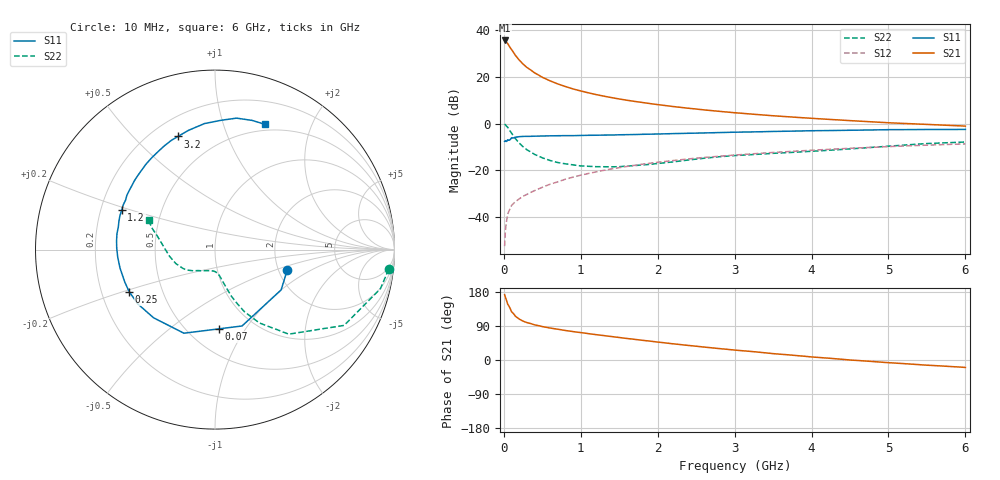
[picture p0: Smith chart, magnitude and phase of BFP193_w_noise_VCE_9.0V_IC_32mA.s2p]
! Infineon Technologies  Discrete & RF Semiconductors
! BFP193
! VCE =  9.0 V,  IC =  32 mA
! Common Emitter S-Parameters:  Jan 2017
# GHz  S  MA  R  50
!  f  S11  S21  S12  S22
! GHz  MAG  ANG  MAG  ANG  MAG  ANG  MAG  ANG
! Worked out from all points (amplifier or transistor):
!   77 points, 10 MHz to 6 GHz, reference 50 ohm
!   highest |S21| = 35.5 dB at 10 MHz (marker M1)
!   |S21| within 3 dB of that: start of sweep to 81.5 MHz
!   unconditionally stable (mu >= 1): 725.9 MHz to 2.449 GHz
!   at 130 MHz: K = 0.47, MSG = 32.1 dB, |S12| = -34.0 dB
!   at 2.2 GHz: K = 1.01, MAG = 10.9 dB, |S12| = -15.8 dB
!   at 6 GHz: K = 0.90, MSG = 3.8 dB, |S12| = -8.7 dB
!   lowest NFmin = 1.24 dB at 450 MHz
!   S11 on the Smith chart (normalised r, x): 10 MHz: 2.23, -0.61; 70 MHz: 0.70, -0.77; 250 MHz: 0.32, -0.21; 1.2 GHz: 0.29, +0.19; 3.2 GHz: 0.30, +0.68; 6 GHz: 0.43, +1.39
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0.01  0.4185 -15.7  59.91 172.3  0.0024 82.6  0.9736 -6.5
0.02  0.4315 -31.4  59.41 165.6  0.005 86.3  0.9471 -13.3
0.05  0.4514 -70.5  51.31 147.5  0.0115 70.1  0.8343 -30.4
0.07  0.4421 -87.3  45.44 140.9  0.0139 64.0  0.742 -36.5
0.1  0.497 -110.4  38.21 127.4  0.0177 58.0  0.6252 -48.9
0.15  0.5113 -132.0  28.83 115.6  0.0215 54.9  0.4778 -58.8
0.2  0.5256 -144.7  22.84 108.0  0.0246 55.2  0.384 -64.6
0.25  0.5327 -153.8  18.77 102.5  0.028 56.5  0.3207 -67.9
0.3  0.5341 -160.0  15.87 98.7  0.0307 57.8  0.276 -70.6
0.4  0.5391 -168.9  12.15 92.7  0.037 60.7  0.2195 -73.6
0.5  0.5435 -175.5  9.786 88.2  0.0435 62.4  0.1859 -76.1
0.7  0.5508 174.7  7.062 81.2  0.0568 64.3  0.1473 -80.2
0.9  0.553 167.0  5.511 75.0  0.0718 64.0  0.1313 -85.1
1.1  0.5625 160.3  4.546 69.6  0.086 63.7  0.1223 -90.4
1.2  0.5645 157.0  4.174 66.9  0.0929 63.0  0.1201 -93.3
1.6  0.5806 145.2  3.161 56.8  0.1215 59.7  0.1233 -107.9
2.1  0.6049 131.6  2.432 45.1  0.1557 54.6  0.146 -126.5
3.1  0.6591 109.9  1.658 24.5  0.2183 42.9  0.2116 -152.1
3.2  0.6633 108.1  1.609 22.8  0.2241 41.8  0.2162 -154.3
4.1  0.7069 93.3  1.268 6.6  0.2749 31.7  0.2618 -174.4
5.1  0.7427 79.4  1.026 -8.3  0.3271 20.4  0.338 165.5
6  0.7516 68.1  0.885 -19.6  0.3691 10.5  0.4043 155.8
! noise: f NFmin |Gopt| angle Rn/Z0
0.45  1.24  0.35  -173  0.08
0.9  1.3  0.39  -171  0.07
1.9  1.92  0.58  -136  0.17
2.4  2.25  0.62  -121  0.38
